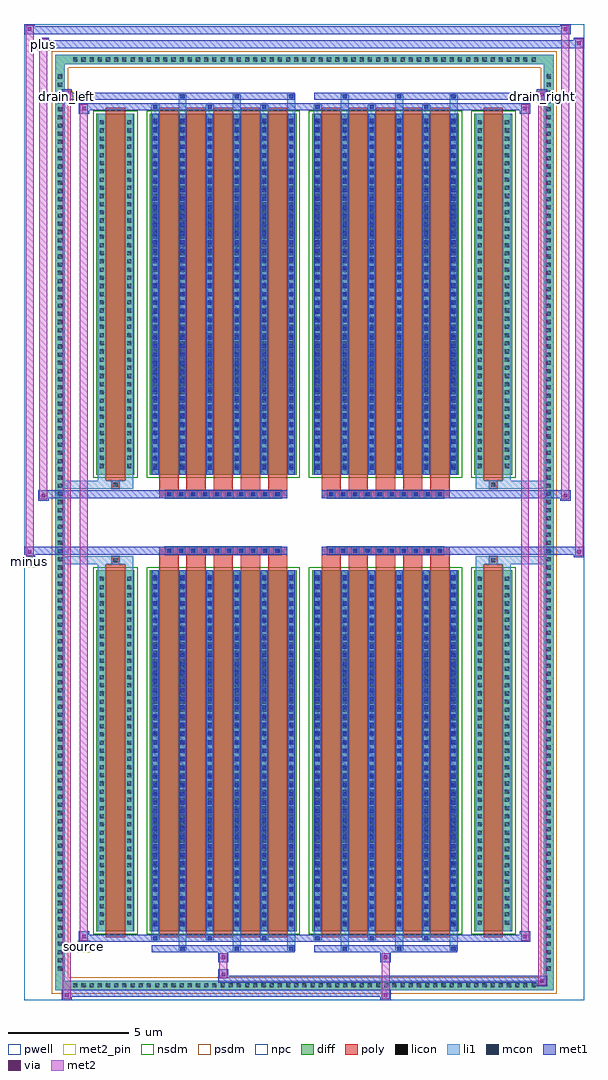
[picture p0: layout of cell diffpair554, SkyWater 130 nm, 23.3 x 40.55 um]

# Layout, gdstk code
import gdstk
lib = gdstk.Library(unit=1e-6, precision=5e-09)
def R(c, l, rs):  # rectangles x0, y0, x1, y1
    for r in rs: c.add(gdstk.rectangle(r[:2], r[2:], *l))
def A(c, l, x, y, w, h, nx, ny, dx, dy):  # array of equal rectangles
    R(c, l, [(x+i*dx, y+j*dy, x+i*dx+w, y+j*dy+h) for i in range(nx) for j in range(ny)])
def P(c, l, *ps):  # polygons
    for p in ps: c.add(gdstk.Polygon(p, *l))
pwell = (64, 44)
diff = (65, 20)
poly = (66, 20)
licon = (66, 44)
li1 = (67, 20)
mcon = (67, 44)
met1 = (68, 20)
via = (68, 44)
met2_pin = (69, 16)
met2 = (69, 20)
nsdm = (93, 44)
psdm = (94, 20)
npc = (95, 20)

diffpair554 = lib.new_cell('diffpair554')
R(diffpair554, pwell, [(-11.63,-19.84,11.63,20.71), (-8.95,-18.03,-0.01,-0.805), (0.01,-18.03,8.95,-0.805), (-8.95,0.805,-0.01,18.03), (0.01,0.805,8.95,18.03)])
A(diffpair554, diff, -9.725, -19.44, 0.41, 0.41, 57, 2, 0.34, 38.47)
A(diffpair554, diff, -10.36, -18.735, 0.41, 0.41, 1, 110, 0, 0.34)
A(diffpair554, diff, 9.95, -18.735, 0.41, 0.41, 1, 110, 0, 0.34)
R(diffpair554, diff, [(-9.725,-19.44,9.725,-19.03), (-10.36,-18.735,-9.95,18.735), (9.95,-18.735,10.36,18.735), (-8.64,-16.985,-7.06,-1.985), (-6.42,-16.985,-0.32,-1.985), (0.32,-16.985,6.42,-1.985), (7.06,-16.985,8.64,-1.985), (-8.64,1.985,-7.06,16.985), (-6.42,1.985,-0.32,16.985), (0.32,1.985,6.42,16.985), (7.06,1.985,8.64,16.985), (-9.725,19.03,9.725,19.44)])
P(diffpair554, diff, [(10.36,19.44),(-10.36,19.44),(-10.36,-19.03),(-9.95,-19.03),(-9.95,19.03),(9.95,19.03),(9.95,-19.03),(-9.95,-19.03),(-10.36,-19.03),(-10.36,-19.44),(10.36,-19.44)])
A(diffpair554, poly, -6.03, -17.235, 0.8, 15.5, 5, 2, 1.13, 18.97)
A(diffpair554, poly, 0.71, -17.235, 0.8, 15.5, 5, 2, 1.13, 18.97)
A(diffpair554, poly, -6.03, -1.735, 0.8, 0.4, 5, 2, 1.13, 3.07)
A(diffpair554, poly, 0.71, -1.735, 0.8, 0.4, 5, 2, 1.13, 3.07)
A(diffpair554, poly, -5.785, -1.335, 0.33, 0.33, 10, 2, 0.5, 2.34)
A(diffpair554, poly, 0.955, -1.335, 0.33, 0.33, 10, 2, 0.5, 2.34)
R(diffpair554, poly, [(-8.25,-17.235,-7.45,-1.735), (7.45,-17.235,8.25,-1.735), (-8.015,-1.735,-7.685,-1.405), (-8.015,-1.735,-7.685,-1.405), (7.685,-1.735,8.015,-1.405), (7.685,-1.735,8.015,-1.405), (-6.03,-1.335,-0.71,-1.005), (0.71,-1.335,6.03,-1.005), (-6.03,1.005,-0.71,1.335), (0.71,1.005,6.03,1.335), (-8.015,1.405,-7.685,1.735), (-8.015,1.405,-7.685,1.735), (7.685,1.405,8.015,1.735), (7.685,1.405,8.015,1.735), (-8.25,1.735,-7.45,17.235), (7.45,1.735,8.25,17.235)])
A(diffpair554, licon, -9.605, -19.32, 0.17, 0.17, 57, 2, 0.34, 38.47)
A(diffpair554, licon, -10.24, -18.615, 0.17, 0.17, 1, 110, 0, 0.34)
A(diffpair554, licon, 10.07, -18.615, 0.17, 0.17, 1, 110, 0, 0.34)
A(diffpair554, licon, -8.5, -16.71, 0.17, 0.17, 1, 43, 0, 0.34)
A(diffpair554, licon, -7.37, -16.71, 0.17, 0.17, 1, 43, 0, 0.34)
A(diffpair554, licon, -6.28, -16.71, 0.17, 0.17, 6, 43, 1.13, 0.34)
A(diffpair554, licon, 0.46, -16.71, 0.17, 0.17, 6, 43, 1.13, 0.34)
A(diffpair554, licon, 7.2, -16.71, 0.17, 0.17, 1, 43, 0, 0.34)
A(diffpair554, licon, 8.33, -16.71, 0.17, 0.17, 1, 43, 0, 0.34)
A(diffpair554, licon, -5.705, -1.255, 0.17, 0.17, 10, 2, 0.5, 2.34)
A(diffpair554, licon, 1.035, -1.255, 0.17, 0.17, 10, 2, 0.5, 2.34)
A(diffpair554, licon, -8.5, 2.26, 0.17, 0.17, 1, 43, 0, 0.34)
A(diffpair554, licon, -7.37, 2.26, 0.17, 0.17, 1, 43, 0, 0.34)
A(diffpair554, licon, -6.28, 2.26, 0.17, 0.17, 6, 43, 1.13, 0.34)
A(diffpair554, licon, 0.46, 2.26, 0.17, 0.17, 6, 43, 1.13, 0.34)
A(diffpair554, licon, 7.2, 2.26, 0.17, 0.17, 1, 43, 0, 0.34)
A(diffpair554, licon, 8.33, 2.26, 0.17, 0.17, 1, 43, 0, 0.34)
R(diffpair554, licon, [(-7.935,-1.655,-7.765,-1.485), (7.765,-1.655,7.935,-1.485), (-7.935,1.485,-7.765,1.655), (7.765,1.485,7.935,1.655)])
A(diffpair554, li1, -9.685, -19.4, 0.33, 0.33, 57, 2, 0.34, 38.47)
A(diffpair554, li1, -10.32, -18.695, 0.33, 0.33, 1, 110, 0, 0.34)
A(diffpair554, li1, 9.99, -18.695, 0.33, 0.33, 1, 110, 0, 0.34)
A(diffpair554, li1, -5.23, -17.79, 0.33, 0.805, 3, 2, 2.26, 34.775)
A(diffpair554, li1, -5.15, -17.79, 0.17, 0.17, 3, 2, 2.26, 35.41)
A(diffpair554, li1, 1.51, -17.79, 0.33, 0.805, 3, 2, 2.26, 34.775)
A(diffpair554, li1, 1.59, -17.79, 0.17, 0.17, 3, 2, 2.26, 35.41)
A(diffpair554, li1, -6.36, -17.36, 0.33, 0.375, 3, 2, 2.26, 34.345)
A(diffpair554, li1, -6.28, -17.36, 0.17, 0.17, 3, 2, 2.26, 34.55)
A(diffpair554, li1, 0.38, -17.36, 0.33, 0.375, 3, 2, 2.26, 34.345)
A(diffpair554, li1, 0.46, -17.36, 0.17, 0.17, 3, 2, 2.26, 34.55)
A(diffpair554, li1, -6.36, -16.985, 0.33, 15, 6, 2, 1.13, 18.97)
A(diffpair554, li1, 0.38, -16.985, 0.33, 15, 6, 2, 1.13, 18.97)
A(diffpair554, li1, -8.58, -16.79, 0.33, 0.33, 1, 43, 0, 0.34)
A(diffpair554, li1, -7.45, -16.79, 0.33, 0.33, 1, 43, 0, 0.34)
A(diffpair554, li1, -6.36, -16.79, 0.33, 0.33, 6, 43, 1.13, 0.34)
A(diffpair554, li1, 0.38, -16.79, 0.33, 0.33, 6, 43, 1.13, 0.34)
A(diffpair554, li1, 7.12, -16.79, 0.33, 0.33, 1, 43, 0, 0.34)
A(diffpair554, li1, 8.25, -16.79, 0.33, 0.33, 1, 43, 0, 0.34)
A(diffpair554, li1, -6.28, -16.77, 0.17, 0.17, 6, 41, 1.13, 0.36)
A(diffpair554, li1, -6.28, -16.77, 0.17, 14.57, 6, 2, 1.13, 18.97)
A(diffpair554, li1, 0.46, -16.77, 0.17, 0.17, 6, 41, 1.13, 0.36)
A(diffpair554, li1, 0.46, -16.77, 0.17, 14.57, 6, 2, 1.13, 18.97)
A(diffpair554, li1, -5.785, -1.335, 0.33, 0.33, 10, 2, 0.5, 2.34)
A(diffpair554, li1, 0.955, -1.335, 0.33, 0.33, 10, 2, 0.5, 2.34)
A(diffpair554, li1, -8.58, 2.18, 0.33, 0.33, 1, 43, 0, 0.34)
A(diffpair554, li1, -7.45, 2.18, 0.33, 0.33, 1, 43, 0, 0.34)
A(diffpair554, li1, -6.36, 2.18, 0.33, 0.33, 6, 43, 1.13, 0.34)
A(diffpair554, li1, 0.38, 2.18, 0.33, 0.33, 6, 43, 1.13, 0.34)
A(diffpair554, li1, 7.12, 2.18, 0.33, 0.33, 1, 43, 0, 0.34)
A(diffpair554, li1, 8.25, 2.18, 0.33, 0.33, 1, 43, 0, 0.34)
A(diffpair554, li1, -6.28, 2.2, 0.17, 0.17, 6, 41, 1.13, 0.36)
A(diffpair554, li1, 0.46, 2.2, 0.17, 0.17, 6, 41, 1.13, 0.36)
R(diffpair554, li1, [(-10.36,-19.44,-9.95,-19.03), (-10.36,-19.44,-9.95,-19.03), (-9.95,-19.44,9.95,-19.03), (9.95,-19.44,10.36,-19.03), (9.95,-19.44,10.36,-19.03), (-10.36,-19.03,-9.95,19.03), (9.95,-19.03,10.36,19.03), (-8.58,-16.985,-8.25,-1.985), (-7.45,-16.985,-7.12,-1.985), (7.12,-16.985,7.45,-1.985), (8.25,-16.985,8.58,-1.985), (-8.58,-1.985,-8.25,-1.405), (-7.45,-1.985,-7.12,-1.405), (7.12,-1.985,7.45,-1.405), (8.25,-1.985,8.58,-1.405), (-10.36,-1.735,-8.015,-1.405), (-8.58,-1.735,-8.015,-1.405), (-8.015,-1.735,-7.685,-1.405), (-7.685,-1.735,-7.12,-1.405), (7.12,-1.735,7.685,-1.405), (7.685,-1.735,8.015,-1.405), (7.685,-1.735,10.36,-1.405), (8.015,-1.735,8.58,-1.405), (-10.36,1.405,-8.015,1.735), (-8.58,1.405,-8.015,1.735), (-8.58,1.405,-8.25,1.985), (-8.015,1.405,-7.685,1.735), (-7.685,1.405,-7.12,1.735), (-7.45,1.405,-7.12,1.985), (7.12,1.405,7.685,1.735), (7.12,1.405,7.45,1.985), (7.685,1.405,8.015,1.735), (7.685,1.405,10.36,1.735), (8.015,1.405,8.58,1.735), (8.25,1.405,8.58,1.985), (-8.58,1.985,-8.25,16.985), (-7.45,1.985,-7.12,16.985), (7.12,1.985,7.45,16.985), (8.25,1.985,8.58,16.985), (-10.36,19.03,-9.95,19.44), (-10.36,19.03,-9.95,19.44), (-9.95,19.03,9.95,19.44), (9.95,19.03,10.36,19.44), (9.95,19.03,10.36,19.44)])
A(diffpair554, mcon, -5.15, -17.79, 0.17, 0.17, 3, 2, 2.26, 35.41)
A(diffpair554, mcon, 1.59, -17.79, 0.17, 0.17, 3, 2, 2.26, 35.41)
A(diffpair554, mcon, -6.28, -17.36, 0.17, 0.17, 3, 2, 2.26, 34.55)
A(diffpair554, mcon, 0.46, -17.36, 0.17, 0.17, 3, 2, 2.26, 34.55)
A(diffpair554, mcon, -6.28, -16.77, 0.17, 0.17, 6, 41, 1.13, 0.36)
A(diffpair554, mcon, 0.46, -16.77, 0.17, 0.17, 6, 41, 1.13, 0.36)
A(diffpair554, mcon, -5.705, -1.255, 0.17, 0.17, 10, 2, 0.5, 2.34)
A(diffpair554, mcon, 1.035, -1.255, 0.17, 0.17, 10, 2, 0.5, 2.34)
A(diffpair554, mcon, -6.28, 2.2, 0.17, 0.17, 6, 41, 1.13, 0.36)
A(diffpair554, mcon, 0.46, 2.2, 0.17, 0.17, 6, 41, 1.13, 0.36)
A(diffpair554, met1, -5.21, -17.85, 0.29, 0.29, 3, 2, 2.26, 35.41)
A(diffpair554, met1, 1.53, -17.85, 0.29, 0.29, 3, 2, 2.26, 35.41)
A(diffpair554, met1, -6.34, -17.42, 0.29, 0.29, 3, 2, 2.26, 34.55)
A(diffpair554, met1, 0.4, -17.42, 0.29, 0.29, 3, 2, 2.26, 34.55)
A(diffpair554, met1, -6.34, -16.985, 0.29, 15, 6, 2, 1.13, 18.97)
A(diffpair554, met1, 0.4, -16.985, 0.29, 15, 6, 2, 1.13, 18.97)
A(diffpair554, met1, -6.34, -16.83, 0.29, 0.29, 6, 41, 1.13, 0.36)
A(diffpair554, met1, 0.4, -16.83, 0.29, 0.29, 6, 41, 1.13, 0.36)
A(diffpair554, met1, -5.765, -1.315, 0.29, 0.29, 10, 2, 0.5, 2.34)
A(diffpair554, met1, 0.975, -1.315, 0.29, 0.29, 10, 2, 0.5, 2.34)
A(diffpair554, met1, -6.34, 2.14, 0.29, 0.29, 6, 41, 1.13, 0.36)
A(diffpair554, met1, 0.4, 2.14, 0.29, 0.29, 6, 41, 1.13, 0.36)
R(diffpair554, met1, [(-10.09,-19.84,-9.66,-19.41), (3.155,-19.84,3.585,-19.41), (-10.09,-19.7,3.585,-19.41), (9.66,-19.27,10.09,-18.84), (-3.585,-19.13,10.09,-18.84), (-3.585,-18.99,-3.155,-18.56), (-3.585,-18.28,-3.155,-17.85), (3.155,-18.28,3.585,-17.85), (-6.34,-17.85,-0.4,-17.56), (0.4,-17.85,6.34,-17.56), (-9.38,-17.42,-8.95,-16.99), (-9.38,-17.42,-6.34,-17.13), (-6.34,-17.42,-0.4,-17.13), (-0.4,-17.42,0.4,-17.13), (0.4,-17.42,6.34,-17.13), (6.34,-17.42,9.38,-17.13), (8.95,-17.42,9.38,-16.99), (-11.63,-1.435,-11.2,-1.005), (11.2,-1.435,11.63,-1.005), (-11.63,-1.335,-0.71,-1.005), (-6.03,-1.335,-0.71,-1.005), (0.71,-1.335,6.03,-1.005), (0.71,-1.335,11.63,-1.005), (-11.06,0.905,-10.63,1.335), (10.63,0.905,11.06,1.335), (-11.06,1.005,-6.03,1.335), (-6.03,1.005,-0.71,1.335), (0.71,1.005,6.03,1.335), (6.03,1.005,11.06,1.335), (-9.38,16.99,-8.95,17.42), (8.95,16.99,9.38,17.42), (-9.38,17.13,-6.34,17.42), (-6.34,17.13,-0.4,17.42), (-0.4,17.13,0.4,17.42), (0.4,17.13,6.34,17.42), (6.34,17.13,9.38,17.42), (-10.09,17.56,-9.66,17.99), (-10.09,17.56,-6.34,17.85), (-6.34,17.56,-0.4,17.85), (0.4,17.56,6.34,17.85), (6.34,17.56,10.09,17.85), (9.66,17.56,10.09,17.99), (-11.06,19.71,-10.63,20.14), (-11.06,19.71,-8.95,20.04), (-8.95,19.71,8.95,20.04), (8.95,19.71,11.63,20.04), (11.2,19.71,11.63,20.14), (-11.63,20.28,-11.2,20.71), (-11.63,20.28,-8.95,20.61), (-8.95,20.28,8.95,20.61), (8.95,20.28,11.06,20.61), (10.63,20.28,11.06,20.71)])
R(diffpair554, via, [(-9.95,-19.7,-9.8,-19.55), (3.295,-19.7,3.445,-19.55), (9.8,-19.13,9.95,-18.98), (-3.445,-18.85,-3.295,-18.7), (-3.445,-18.14,-3.295,-17.99), (3.295,-18.14,3.445,-17.99), (-9.24,-17.28,-9.09,-17.13), (9.09,-17.28,9.24,-17.13), (-11.49,-1.295,-11.34,-1.145), (11.34,-1.295,11.49,-1.145), (-10.92,1.045,-10.77,1.195), (10.77,1.045,10.92,1.195), (-9.24,17.13,-9.09,17.28), (9.09,17.13,9.24,17.28), (-9.95,17.7,-9.8,17.85), (9.8,17.7,9.95,17.85), (-10.92,19.85,-10.77,20), (11.34,19.85,11.49,20), (-11.49,20.42,-11.34,20.57), (10.77,20.42,10.92,20.57)])
R(diffpair554, met2_pin, [(-9.415,-17.87,-8.915,-17.37), (-11.665,-1.885,-11.165,-1.385), (-10.125,17.44,-9.625,17.94), (9.625,17.44,10.125,17.94), (-11.095,19.59,-10.595,20.09)])
R(diffpair554, met2, [(-10.04,-19.79,-9.71,-19.46), (-10.04,-19.79,-9.71,17.94), (3.205,-19.79,3.535,-19.46), (3.205,-19.46,3.535,-18.23), (9.71,-19.22,10.04,-18.89), (9.71,-19.22,10.04,17.94), (-3.535,-18.94,-3.205,-18.61), (-3.535,-18.61,-3.205,-18.23), (-3.535,-18.23,-3.205,-17.9), (3.205,-18.23,3.535,-17.9), (-9.33,-17.37,-9,-17.04), (-9.33,-17.37,-9,17.37), (9,-17.37,9.33,-17.04), (9,-17.37,9.33,17.37), (-11.58,-1.385,-11.25,-1.055), (-11.58,-1.385,-11.25,20.66), (11.25,-1.385,11.58,-1.055), (11.25,-1.385,11.58,20.09), (-11.01,0.955,-10.68,1.285), (-11.01,0.955,-10.68,20.09), (10.68,0.955,11.01,1.285), (10.68,0.955,11.01,20.66), (-9.33,17.04,-9,17.37), (9,17.04,9.33,17.37), (-10.04,17.61,-9.71,17.94), (9.71,17.61,10.04,17.94), (-11.01,19.76,-10.68,20.09), (11.25,19.76,11.58,20.09), (-11.58,20.33,-11.25,20.66), (10.68,20.33,11.01,20.66)])
P(diffpair554, met2, [(11.58,-1.385),(11.58,-1.385),(11.58,-1.055),(11.58,-1.055)],
  [(11.58,19.76),(11.58,19.76),(11.58,20.09),(11.58,20.09)],
  [(-11.25,-1.385),(-11.25,-1.385),(-11.25,-1.055),(-11.25,-1.055)],
  [(-11.25,20.33),(-11.25,20.33),(-11.25,20.66),(-11.25,20.66)],
  [(11.01,0.955),(11.01,0.955),(11.01,1.285),(11.01,1.285)],
  [(11.01,20.33),(11.01,20.33),(11.01,20.66),(11.01,20.66)],
  [(-10.68,0.955),(-10.68,0.955),(-10.68,1.285),(-10.68,1.285)],
  [(-10.68,19.76),(-10.68,19.76),(-10.68,20.09),(-10.68,20.09)],
  [(-9.71,-19.79),(-9.71,-19.79),(-9.71,-19.46),(-9.71,-19.46)],
  [(-9.71,17.61),(-9.71,17.61),(-9.71,17.94),(-9.71,17.94)],
  [(10.04,-19.22),(10.04,-19.22),(10.04,-18.89),(10.04,-18.89)],
  [(10.04,17.61),(10.04,17.61),(10.04,17.94),(10.04,17.94)],
  [(-9,-17.37),(-9,-17.37),(-9,-17.04),(-9,-17.04)],
  [(-9,17.04),(-9,17.04),(-9,17.37),(-9,17.37)],
  [(9.33,-17.37),(9.33,-17.37),(9.33,-17.04),(9.33,-17.04)],
  [(9.33,17.04),(9.33,17.04),(9.33,17.37),(9.33,17.37)])
R(diffpair554, nsdm, [(-8.77,-17.115,-6.93,-1.855), (-6.55,-17.115,-0.19,-1.855), (0.19,-17.115,6.55,-1.855), (6.93,-17.115,8.77,-1.855), (-8.77,1.855,-6.93,17.115), (-6.55,1.855,-0.19,17.115), (0.19,1.855,6.55,17.115), (6.93,1.855,8.77,17.115)])
P(diffpair554, psdm, [(10.49,19.57),(-10.49,19.57),(-10.49,-18.9),(-9.82,-18.9),(-9.82,18.9),(9.82,18.9),(9.82,-18.9),(-9.82,-18.9),(-10.49,-18.9),(-10.49,-19.57),(10.49,-19.57)])
A(diffpair554, npc, -5.805, -1.355, 0.37, 0.37, 10, 2, 0.5, 2.34)
A(diffpair554, npc, 0.935, -1.355, 0.37, 0.37, 10, 2, 0.5, 2.34)
R(diffpair554, npc, [(-8.035,-1.755,-7.665,-1.385), (7.665,-1.755,8.035,-1.385), (-5.805,-1.355,-4.935,-0.985), (-5.805,-1.355,-4.935,-0.985), (-5.305,-1.355,-4.435,-0.985), (-5.305,-1.355,-4.435,-0.985), (-4.805,-1.355,-3.935,-0.985), (-4.805,-1.355,-3.935,-0.985), (-4.305,-1.355,-3.435,-0.985), (-4.305,-1.355,-3.435,-0.985), (-3.805,-1.355,-2.935,-0.985), (-3.805,-1.355,-2.935,-0.985), (-3.305,-1.355,-2.435,-0.985), (-3.305,-1.355,-2.435,-0.985), (-2.805,-1.355,-1.935,-0.985), (-2.805,-1.355,-1.935,-0.985), (-2.305,-1.355,-1.435,-0.985), (-2.305,-1.355,-1.435,-0.985), (-1.805,-1.355,-0.935,-0.985), (-1.805,-1.355,-0.935,-0.985), (0.935,-1.355,1.805,-0.985), (0.935,-1.355,1.805,-0.985), (1.435,-1.355,2.305,-0.985), (1.435,-1.355,2.305,-0.985), (1.935,-1.355,2.805,-0.985), (1.935,-1.355,2.805,-0.985), (2.435,-1.355,3.305,-0.985), (2.435,-1.355,3.305,-0.985), (2.935,-1.355,3.805,-0.985), (2.935,-1.355,3.805,-0.985), (3.435,-1.355,4.305,-0.985), (3.435,-1.355,4.305,-0.985), (3.935,-1.355,4.805,-0.985), (3.935,-1.355,4.805,-0.985), (4.435,-1.355,5.305,-0.985), (4.435,-1.355,5.305,-0.985), (4.935,-1.355,5.805,-0.985), (4.935,-1.355,5.805,-0.985), (-5.805,0.985,-4.935,1.355), (-5.805,0.985,-4.935,1.355), (-5.305,0.985,-4.435,1.355), (-5.305,0.985,-4.435,1.355), (-4.805,0.985,-3.935,1.355), (-4.805,0.985,-3.935,1.355), (-4.305,0.985,-3.435,1.355), (-4.305,0.985,-3.435,1.355), (-3.805,0.985,-2.935,1.355), (-3.805,0.985,-2.935,1.355), (-3.305,0.985,-2.435,1.355), (-3.305,0.985,-2.435,1.355), (-2.805,0.985,-1.935,1.355), (-2.805,0.985,-1.935,1.355), (-2.305,0.985,-1.435,1.355), (-2.305,0.985,-1.435,1.355), (-1.805,0.985,-0.935,1.355), (-1.805,0.985,-0.935,1.355), (0.935,0.985,1.805,1.355), (0.935,0.985,1.805,1.355), (1.435,0.985,2.305,1.355), (1.435,0.985,2.305,1.355), (1.935,0.985,2.805,1.355), (1.935,0.985,2.805,1.355), (2.435,0.985,3.305,1.355), (2.435,0.985,3.305,1.355), (2.935,0.985,3.805,1.355), (2.935,0.985,3.805,1.355), (3.435,0.985,4.305,1.355), (3.435,0.985,4.305,1.355), (3.935,0.985,4.805,1.355), (3.935,0.985,4.805,1.355), (4.435,0.985,5.305,1.355), (4.435,0.985,5.305,1.355), (4.935,0.985,5.805,1.355), (4.935,0.985,5.805,1.355), (-8.035,1.385,-7.665,1.755), (7.665,1.385,8.035,1.755)])
diffpair554.add(gdstk.Label('minus', (-11.415,-1.635), layer=69, texttype=5))
diffpair554.add(gdstk.Label('drain_right', (9.875,17.69), layer=69, texttype=5))
diffpair554.add(gdstk.Label('drain_left', (-9.875,17.69), layer=69, texttype=5))
diffpair554.add(gdstk.Label('source', (-9.165,-17.62), layer=69, texttype=5))
diffpair554.add(gdstk.Label('plus', (-10.845,19.84), layer=69, texttype=5))

lib.write_gds('diffpair554.gds')
